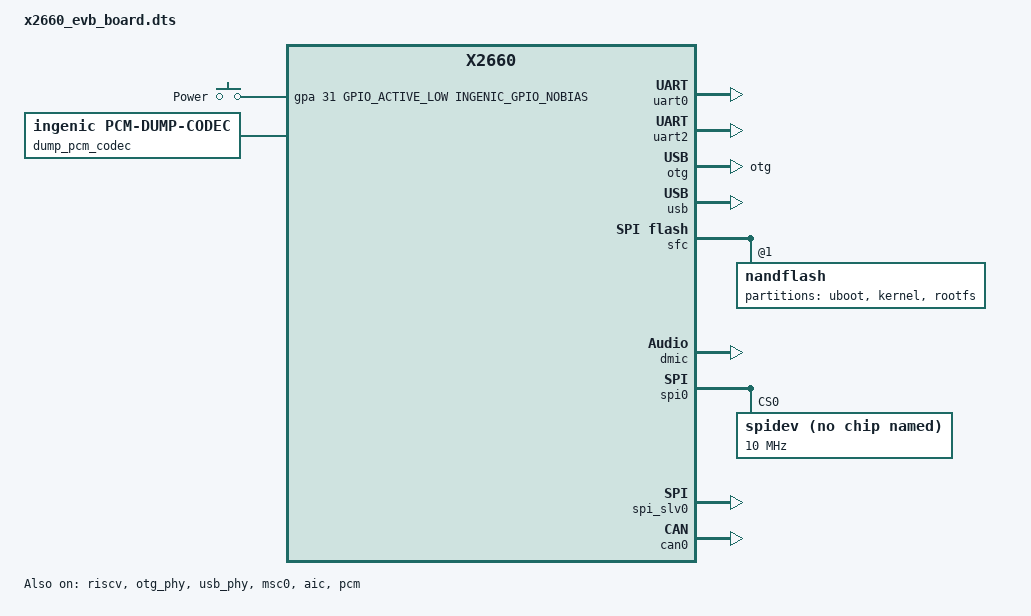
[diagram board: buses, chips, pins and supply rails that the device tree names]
/dts-v1/;

#include <dt-bindings/input/input.h>
#include "x2600.dtsi"

/ {
	compatible = "ingenic,x2660-evb-board", "ingenic,x2660";
	reserved-memory {
		#address-cells = <1>;
		#size-cells = <1>;
		ranges;

#if 1
		riscv_mcu_ram: riscv_mcu_ram@0x07F00000{
		       compatible = "shared-dma-pool";
		       reg = <0x07F00000 0x50000>;
		       no-map;

		};

		vdev0buffer: vdev0buffer@0x07F50000{
		     compatible = "shared-dma-pool";
		     reg = <0x07F50000 0x8000>;
		     no-map;
		};

		vdev0vring0: vdev0vring0@0x12400000{
		     compatible = "shared-dma-pool";
		     reg = <0x12400000 0x1000>;
		     no-map;
		};

		vdev0vring1: vdev0vring1@0x12401000{
		     compatible = "shared-dma-pool";
		     reg = <0x12401000 0x1000>;
		     no-map;
		};
#endif
	};
};

#if 1
&riscv {
	status = "okay";
	memory-region=<&vdev0buffer>, <&vdev0vring0>, <&vdev0vring1>;
	load-addr=<0x07f00000>;
};
#endif

&uart0 {
	status = "okay";
	pinctrl-names = "default";
	pinctrl-0 = <&uart0_pe>;
};

&uart2 {
	status = "okay";
	pinctrl-names = "default";
	pinctrl-0 = <&uart2_pd>;
};

//&pwm {
//     ingenic,pwm-outputs = <0>; /* <0 - 15> select which pwms are really used */
//}

&otg {
	g-use-dma;
	dr_mode = "otg"; // host,peripheral,otg
	snps,need-phy-for-wake;
	status = "okay";
};

&usb {
	g-use-dma;
	snps,need-phy-for-wake;
	status = "okay";
};

&otg_phy {
	status = "okay";
	enable-usb-wakeup;
	ingenic,drvvbus-gpio = <&gpe 1 GPIO_ACTIVE_HIGH INGENIC_GPIO_NOBIAS>;
};

&usb_phy {
	status = "okay";
	enable-usb-wakeup;
	ingenic,drvvbus-gpio = <&gpe 0 GPIO_ACTIVE_HIGH INGENIC_GPIO_NOBIAS>;
};

&msc0 {
	status = "okay";
	/*mmc-hs200-1_8v;*/
	pinctrl-names ="default";
	pinctrl-0 = <&msc0_4bit>;
	cap-mmc-highspeed;
	non-removable;
	max-frequency = <50000000>;
	bus-width = <4>;
	non-removable;
	voltage-ranges = <1800 3300>;

	/* special property */
	ingenic,wp-gpios = <0>;
	ingneic,cd-gpios = <0>;
	ingenic,rst-gpios = <0>;
};

&msc1 {
	status = "disable";
	/*mmc-hs200-1_8v;*/
	cap-mmc-highspeed;
	non-removable;
	max-frequency = <50000000>;
	bus-width = <4>;
	non-removable;
	voltage-ranges = <1800 3300>;

	/* special property */
	ingenic,wp-gpios = <0>;
	ingneic,cd-gpios = <0>;
	ingenic,rst-gpios = <0>;
};

/*
&mac0 {
	pinctrl-names = "default", "reset";
	pinctrl-0 = <&mac0_rgmii_p0_normal>, <&mac0_rgmii_p1_normal>;
	pinctrl-1 = <&mac0_rgmii_p0_rst>, <&mac0_rgmii_p1_normal>;
	status = "okay";
	ingenic,rst-gpio = <&gpb 0 GPIO_ACTIVE_LOW INGENIC_GPIO_NOBIAS>;
	ingenic,rst-ms = <10>;
	ingenic,mac-mode = <RGMII>;
	ingenic,mode-reg = <0xb00000e4>;
};
*/

&sfc {
	status = "okay";
	pinctrl-names = "default";
	pinctrl-0 = <&sfc_pd>;
	ingenic,sfc-max-frequency = <200000000>;
	ingenic,sfc-init-frequency= <40000000>;
	ingenic,use_ofpart_info  = /bits/ 8 <0>;
	ingenic,spiflash_param_offset = <0>;

	nandflash@1 {
		partitions {
		compatible = "fixed-partitions";
		#address-cells = <1>;
		#size-cells = <1>;
		/* spi nand flash partition */
		partition@0 {
			label = "uboot";
			reg = <0x0000000 0x100000>;
		/*read-only;*/
		};
		partition@100000 {
			label = "kernel";
			reg = <0x100000 0x800000>;
		};
		partition@900000 {
			label = "rootfs";
			reg = <0x900000 0xf700000>;
		};
		};
	};

};

&aic {
	status = "okay";
	pinctrl-names = "default";
	pinctrl-0 = <&aic_pc>;
};

&i2c0{
	status = "disable";
	clock-frequency = <100000>;
	// timeout = <1000>;
	pinctrl-names = "default";
	pinctrl-0 = <&i2c0_pc>;

	wm8594: wm8594@0x1a{
		compatible = "wlf,wm8594";
		reg = <0x1a>;
		status = "disable";
		reset-gpios = <&gpc 20 GPIO_ACTIVE_HIGH INGENIC_GPIO_NOBIAS>;
	};
};

&dmic {
	status = "okay";
	pinctrl-names = "default";
	pinctrl-0 = <&dmic_pc_2ch>;
};

&pcm {
	status = "okay";
	ingenic,pcm-master-mode = <1>;
	pinctrl-names = "default";
	pinctrl-0 = <&pcm_pc>;
};

&spi0 {
	status = "okay";
	pinctrl-names = "default";
	pinctrl-0 = <&spi0_pb>;
	spi-max-frequency = <54000000>;
	num-cs = <2>;
	/* cs-gpios = <0>, <0>; */
	/* cs-gpios = <&gpb 17 GPIO_ACTIVE_HIGH INGENIC_GPIO_NOBIAS>, <&gpb 16 GPIO_ACTIVE_HIGH INGENIC_GPIO_NOBIAS>; */
	ingenic,chnl = <0>;
	ingenic,allow_cs_same = <1>;
	ingenic,bus_num = <0>;
	ingenic,has_dma_support = <0>;
	ingenic,spi-src-clk = <1>;/*0.ext; 1.ssi*/

	/* Add SPI interface device */
	spidev: spidev@0 {
		compatible = "rohm,dh2228fv";
		reg = <0>;
		spi-max-frequency = <10000000>;
	};
};

&spi_slv0 {
	status = "okay";
	pinctrl-names = "default";
	pinctrl-0 = <&spi_slv_pb>;
	ingenic,has_dma_support = <0>;
};
/*
&efuse {
	status = "disabled";
	ingenic,efuse-en-gpio = <&gpe 2 GPIO_ACTIVE_LOW INGENIC_GPIO_NOBIAS>;
};
*/

/ {

	extclk: extclk {
		clock-frequency = <24000000>;
	};

	gpio_keys: gpio_keys {
		   compatible = "gpio-keys";

		   power {
			   label = "Power";
			   linux,code = <KEY_POWER>;
			   gpios = <&gpa 31 GPIO_ACTIVE_LOW INGENIC_GPIO_NOBIAS>;
			   gpio-key,wakeup;
		   };
	   };

	dump_pcm_codec:dump_pcm_codec{
		compatible = "ingenic,pcm-dump-codec";
		status = "okay";
	};

	sound_x2660_cdc {
		status = "disable";
		compatible = "ingenic,x2660-sound";
		ingenic,model = "x2660";
		ingenic,dai-link = "i2s-ecodec", "i2s-icodec", "dmic", "i2s-tloop";
		ingenic,stream = "i2s-ecodec", "i2s-icodec", "dmic", "i2s-tloop";
		ingenic,cpu-dai = <&i2s>, <&i2s>, <&dmic>, <&i2s_tloop>;
		ingenic,platform = <&aic>, <&aic>, <&dmic>, <&i2s_tloop>;
		ingenic,codec =  <&wm8594>, <&icodec>, <&dmic>, <&dump_pcm_codec>;
		ingenic,codec-dai = "wm8594-hifi", "icodec", "dmic-dump-codec", "pcm-dump";
		ingenic,audio-routing = "Speaker", "HPOUTL", "DACL", "MICBIAS" ,
			"ADCL",  "MICL",
			"ADCR",  "MICR";
	};

	sound_x2660_pcm_cdc {
		status = "okay";
		compatible = "ingenic,x2660-sound";
		ingenic,model = "x2660";
		ingenic,dai-link = "pcm", "i2s-icodec", "dmic", "i2s-tloop";
		ingenic,stream = "pcm", "i2s-icodec", "dmic", "i2s-tloop";
		ingenic,cpu-dai = <&pcm>, <&i2s>, <&dmic>, <&i2s_tloop>;
		ingenic,platform = <&pcm>, <&aic>, <&dmic>, <&i2s_tloop>;
		ingenic,codec =  <&dump_pcm_codec>, <&icodec>, <&dmic>, <&dump_pcm_codec>;
		ingenic,codec-dai = "pcm-dump", "icodec", "dmic-dump-codec", "pcm-dump";
		ingenic,audio-routing = "Speaker", "HPOUTL", "DACL", "MICBIAS" ,
			"ADCL",  "MICL",
			"ADCR",  "MICR";
	};
};

&jpegd {
	    status = "disable";
};

&jpege {
	    status = "disable";
};

&felix {
	status = "disable";
};

&pdma {
	status = "okay";
};

&pdma1 {
	status = "disable";
};

&sadc{
	status = "disable";
	pinctrl-names = "default";
	pinctrl-0 = <&aux_all_pe>;
	ingenic,has_dma_support = <0>;

};

&can0 {
	status = "okay";
	pinctrl-names = "default";
	pinctrl-0 = <&can0_pin>;
	ingenic,clk-freq = <24000000>;
};


#ifdef CONFIG_STAGE_MTF070WS
#include "x2660_evb_lcd/X2660_EVB_MIPI_LCD_MTF070.dtsi"
#endif


#ifdef CONFIG_STAGE_KHX101HW5
#include "x2660_evb_lcd/X2660_EVB_LVDS_LCD_KHX101HW5.dtsi"
#endif


#ifdef CONFIG_STAGE_HC050IV45011
#include "x2660_evb_lcd/X2660_EVB_MIPI_LCD_HC050IV.dtsi"
#endif

#ifdef CONFIG_STAGE_KD050WVFPA029
#include "x2660_evb_lcd/X2660_EVB_RGB_LCD_KD050.dtsi"
#endif

#ifdef CONFIG_STAGE_KD035HVFMD057
#include "x2660_evb_lcd/X2660_EVB_SLCD_KD035.dtsi"
#endif
